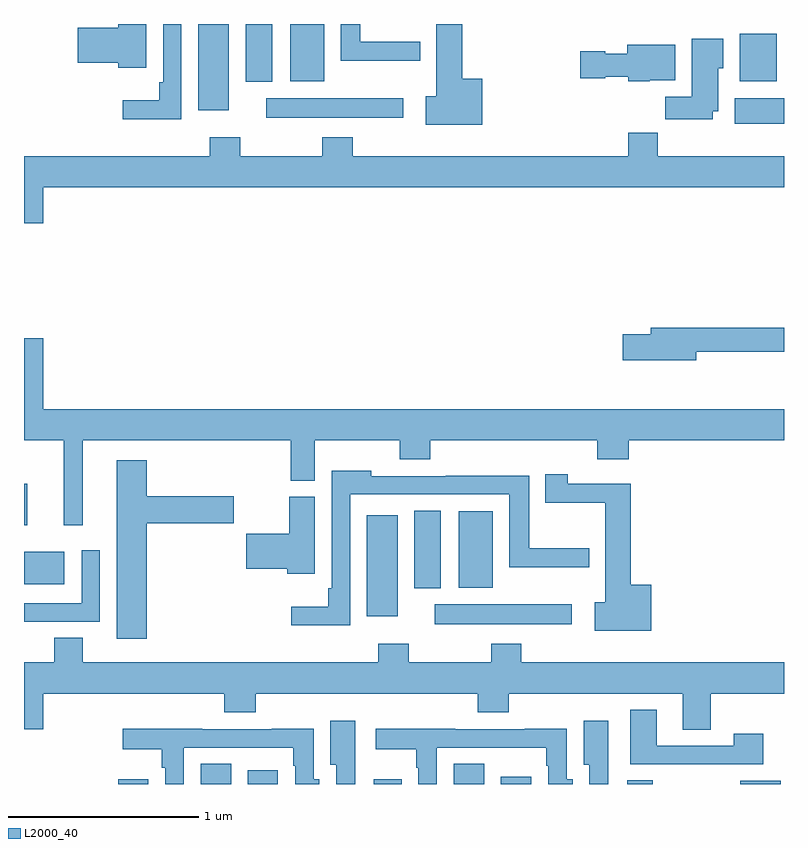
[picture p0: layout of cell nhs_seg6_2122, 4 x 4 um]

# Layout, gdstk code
import gdstk
lib = gdstk.Library(unit=1e-6, precision=1e-09)
def R(c, l, rs):  # rectangles x0, y0, x1, y1
    for r in rs: c.add(gdstk.rectangle(r[:2], r[2:], *l))
def P(c, l, *ps):  # polygons
    for p in ps: c.add(gdstk.Polygon(p, *l))
L2000_40 = (2000, 40)

nhs_seg6_2122 = lib.new_cell('nhs_seg6_2122')
R(nhs_seg6_2122, L2000_40, [(237.497,973.5,237.655,973.525), (237.929,973.5,238.09,973.607), (238.178,973.5,238.336,973.573), (238.841,973.5,238.987,973.525), (239.261,973.5,239.422,973.607), (239.51,973.5,239.671,973.537), (240.176,973.5,240.31,973.52), (240.77,973.5,240.982,973.516), (239.163,974.342,239.884,974.446), (238.805,974.382,238.966,974.914), (239.054,974.531,239.194,974.939), (239.288,974.534,239.467,974.935), (237,974.552,237.211,974.722), (237,974.862,237.017,975.081), (240.74,976.976,241,977.11), (238.275,977.006,238.996,977.11), (237.917,977.046,238.078,977.5), (238.166,977.195,238.306,977.5), (238.4,977.198,238.579,977.5), (240.767,977.198,240.963,977.449)])
P(nhs_seg6_2122, L2000_40, [(239.086,977.406),(238.771,977.406),(238.771,977.5),(238.667,977.5),(238.667,977.306),(239.086,977.306)],
  [(237.828,977.5),(237.732,977.5),(237.732,977.194),(237.712,977.194),(237.712,977.098),(237.519,977.098),(237.519,977),(237.828,977)],
  [(239.413,977.212),(239.306,977.212),(239.306,977.5),(239.171,977.5),(239.171,977.12),(239.115,977.12),(239.115,976.97),(239.413,976.97)],
  [(237.643,977.5),(237.497,977.5),(237.497,977.48),(237.282,977.48),(237.282,977.297),(237.497,977.297),(237.497,977.27),(237.643,977.27)],
  [(240.625,977.042),(240.655,977.042),(240.655,977.268),(240.679,977.268),(240.679,977.422),(240.515,977.422),(240.515,977.116),(240.376,977.116),(240.376,976.998),(240.625,976.998)],
  [(240.294,977.204),(240.427,977.204),(240.427,977.392),(240.176,977.392),(240.176,977.344),(240.06,977.344),(240.06,977.357),(239.928,977.357),(239.928,977.215),(240.06,977.215),(240.06,977.222),(240.18,977.222),(240.18,977.198),(240.294,977.198)],
  [(237.1,976.64),(241,976.64),(241,976.804),(240.335,976.804),(240.335,976.928),(240.179,976.928),(240.179,976.804),(238.73,976.804),(238.73,976.903),(238.57,976.903),(238.57,976.804),(238.137,976.804),(238.137,976.903),(237.977,976.903),(237.977,976.804),(237,976.804),(237,976.452),(237.1,976.452)],
  [(240.538,975.774),(241,975.774),(241,975.902),(240.299,975.902),(240.299,975.866),(240.15,975.866),(240.15,975.731),(240.538,975.731)],
  [(237.1,975.847),(237,975.847),(237,975.308),(237.209,975.308),(237.209,974.862),(237.308,974.862),(237.308,975.308),(238.403,975.308),(238.403,975.097),(238.531,975.097),(238.531,975.308),(238.978,975.308),(238.978,975.209),(239.138,975.209),(239.138,975.308),(240.017,975.308),(240.017,975.209),(240.182,975.209),(240.182,975.308),(241,975.308),(241,975.472),(237.1,975.472)],
  [(237.647,974.873),(238.105,974.873),(238.105,975.015),(237.647,975.015),(237.647,975.205),(237.488,975.205),(237.488,974.265),(237.647,974.265)],
  [(238.716,975.024),(239.555,975.024),(239.555,974.642),(239.974,974.642),(239.974,974.742),(239.659,974.742),(239.659,975.122),(239.221,975.122),(239.221,975.12),(238.827,975.12),(238.827,975.148),(238.62,975.148),(238.62,974.53),(238.6,974.53),(238.6,974.434),(238.407,974.434),(238.407,974.336),(238.716,974.336)],
  [(240.301,974.548),(240.194,974.548),(240.194,975.079),(239.862,975.079),(239.862,975.13),(239.744,975.13),(239.744,974.98),(240.059,974.98),(240.059,974.456),(240.003,974.456),(240.003,974.306),(240.301,974.306)],
  [(238.531,975.012),(238.397,975.012),(238.397,974.816),(238.17,974.816),(238.17,974.633),(238.385,974.633),(238.385,974.606),(238.531,974.606)],
  [(237.074,974.355),(237.399,974.355),(237.399,974.731),(237.303,974.731),(237.303,974.451),(237,974.451),(237,974.354),(237.074,974.354)],
  [(240.615,973.976),(241,973.976),(241,974.14),(239.618,974.14),(239.618,974.239),(239.458,974.239),(239.458,974.14),(239.025,974.14),(239.025,974.239),(238.865,974.239),(238.865,974.14),(237.31,974.14),(237.31,974.27),(237.158,974.27),(237.158,974.14),(237,974.14),(237,973.788),(237.1,973.788),(237.1,973.976),(238.055,973.976),(238.055,973.877),(238.22,973.877),(238.22,973.976),(239.387,973.976),(239.387,973.877),(239.552,973.877),(239.552,973.976),(240.467,973.976),(240.467,973.786),(240.615,973.786)],
  [(240.892,973.765),(240.736,973.765),(240.736,973.701),(240.331,973.701),(240.331,973.891),(240.191,973.891),(240.191,973.605),(240.892,973.605)],
  [(238.744,973.834),(238.613,973.834),(238.613,973.601),(238.643,973.601),(238.643,973.5),(238.744,973.5)],
  [(240.076,973.834),(239.945,973.834),(239.945,973.601),(239.975,973.601),(239.975,973.5),(240.076,973.5)],
  [(239.172,973.692),(239.518,973.692),(239.518,973.691),(239.748,973.691),(239.748,973.595),(239.76,973.595),(239.76,973.5),(239.887,973.5),(239.887,973.524),(239.856,973.524),(239.856,973.79),(239.635,973.79),(239.635,973.788),(239.269,973.788),(239.269,973.79),(238.851,973.79),(238.851,973.682),(239.064,973.682),(239.064,973.586),(239.076,973.586),(239.076,973.5),(239.172,973.5)],
  [(237.84,973.692),(238.416,973.692),(238.416,973.595),(238.428,973.595),(238.428,973.5),(238.555,973.5),(238.555,973.524),(238.524,973.524),(238.524,973.79),(238.303,973.79),(238.303,973.788),(237.937,973.788),(237.937,973.79),(237.519,973.79),(237.519,973.682),(237.724,973.682),(237.724,973.586),(237.744,973.586),(237.744,973.5),(237.84,973.5)])

lib.write_gds('nhs_seg6_2122.gds')
